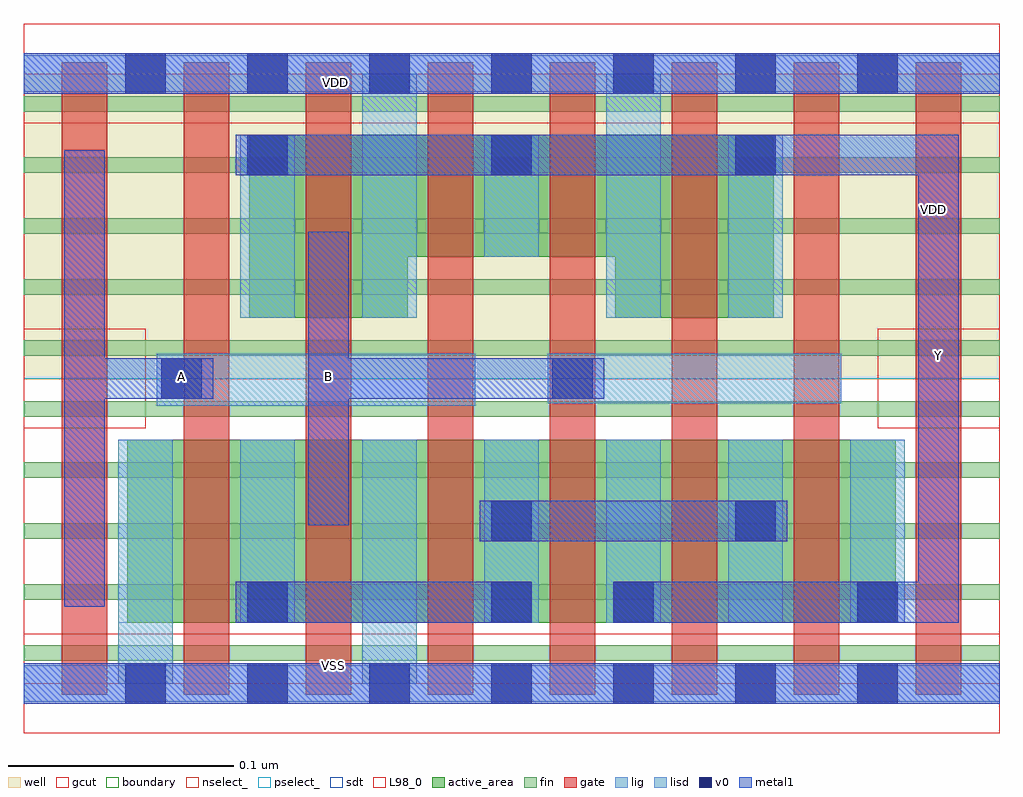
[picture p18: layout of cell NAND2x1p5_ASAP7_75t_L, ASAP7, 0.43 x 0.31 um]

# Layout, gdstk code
import gdstk
lib = gdstk.Library(unit=1e-6, precision=2.5e-10)
def R(c, l, rs):  # rectangles x0, y0, x1, y1
    for r in rs: c.add(gdstk.rectangle(r[:2], r[2:], *l))
def A(c, l, x, y, w, h, nx, ny, dx, dy):  # array of equal rectangles
    R(c, l, [(x+i*dx, y+j*dy, x+i*dx+w, y+j*dy+h) for i in range(nx) for j in range(ny)])
def P(c, l, *ps):  # polygons
    for p in ps: c.add(gdstk.Polygon(p, *l))
well = (1, 0)
fin = (2, 0)
gate = (7, 0)
gcut = (10, 0)
active_area = (11, 0)
nselect_ = (12, 0)
pselect_ = (13, 0)
lig = (16, 0)
lisd = (17, 0)
v0 = (18, 0)
metal1 = (19, 0)
sdt = (88, 0)
L98_0 = (98, 0)
boundary = (100, 0)

nand2x1p5_asap7_75t_l = lib.new_cell('NAND2x1p5_ASAP7_75t_L')
R(nand2x1p5_asap7_75t_l, well, [(0,0.135,0.432,0.27)])
A(nand2x1p5_asap7_75t_l, fin, 0, 0.01, 0.432, 0.007, 1, 10, 0, 0.027)
A(nand2x1p5_asap7_75t_l, gate, 0.017, -0.005, 0.02, 0.28, 8, 1, 0.054, 0)
R(nand2x1p5_asap7_75t_l, gcut, [(0,-0.022,0.432,0.022), (0,0.113,0.054,0.157), (0.378,0.113,0.432,0.157), (0,0.248,0.432,0.292)])
R(nand2x1p5_asap7_75t_l, active_area, [(0.046,0.027,0.386,0.108), (0.1,0.162,0.17,0.243), (0.262,0.162,0.332,0.243), (0.1,0.189,0.304,0.243)])
R(nand2x1p5_asap7_75t_l, nselect_, [(0,0,0.432,0.135)])
R(nand2x1p5_asap7_75t_l, pselect_, [(0,0.135,0.432,0.27)])
R(nand2x1p5_asap7_75t_l, lig, [(0,-0.008,0.432,0.008), (0.059,0.123,0.2,0.146), (0.232,0.124,0.362,0.146), (0,0.262,0.432,0.278)])
A(nand2x1p5_asap7_75t_l, lisd, 0.204, 0.027, 0.024, 0.081, 4, 1, 0.054, 0)
R(nand2x1p5_asap7_75t_l, lisd, [(0.042,0,0.066,0.108), (0.15,0,0.174,0.108), (0.096,0.027,0.12,0.108), (0.096,0.162,0.12,0.243), (0.15,0.162,0.174,0.27), (0.258,0.162,0.282,0.27), (0.312,0.162,0.336,0.243), (0.204,0.189,0.228,0.243)])
A(nand2x1p5_asap7_75t_l, v0, 0.045, -0.009, 0.018, 0.018, 7, 2, 0.054, 0.27)
A(nand2x1p5_asap7_75t_l, v0, 0.099, 0.225, 0.018, 0.018, 3, 1, 0.108, 0)
R(nand2x1p5_asap7_75t_l, v0, [(0.099,0.027,0.117,0.045), (0.207,0.027,0.225,0.045), (0.261,0.027,0.279,0.045), (0.369,0.027,0.387,0.045), (0.207,0.063,0.225,0.081), (0.315,0.063,0.333,0.081), (0.061,0.126,0.079,0.144), (0.234,0.126,0.252,0.144), (0.099,0.225,0.117,0.243)])
R(nand2x1p5_asap7_75t_l, metal1, [(0,-0.009,0.432,0.009), (0.094,0.027,0.225,0.045), (0.202,0.063,0.338,0.081), (0,0.261,0.432,0.279)])
P(nand2x1p5_asap7_75t_l, metal1, [(0.084,0.144),(0.036,0.144),(0.036,0.236),(0.018,0.236),(0.018,0.034),(0.036,0.034),(0.036,0.126),(0.084,0.126)],
  [(0.257,0.144),(0.144,0.144),(0.144,0.2),(0.126,0.2),(0.126,0.07),(0.144,0.07),(0.144,0.126),(0.257,0.126)],
  [(0.414,0.243),(0.094,0.243),(0.094,0.225),(0.396,0.225),(0.396,0.045),(0.261,0.045),(0.261,0.027),(0.414,0.027)])
A(nand2x1p5_asap7_75t_l, sdt, 0.042, 0.027, 0.024, 0.081, 7, 1, 0.054, 0)
R(nand2x1p5_asap7_75t_l, sdt, [(0.096,0.162,0.12,0.243), (0.15,0.162,0.174,0.243), (0.258,0.162,0.282,0.243), (0.312,0.162,0.336,0.243), (0.204,0.189,0.228,0.243)])
R(nand2x1p5_asap7_75t_l, L98_0, [(0,0,0.432,0.27)])
R(nand2x1p5_asap7_75t_l, boundary, [(0,0,0.432,0.27)])
nand2x1p5_asap7_75t_l.add(gdstk.Label('VSS', (0.137,0.008), layer=19, texttype=251))
nand2x1p5_asap7_75t_l.add(gdstk.Label('VDD', (0.138,0.266), layer=19, texttype=251))
nand2x1p5_asap7_75t_l.add(gdstk.Label('Y', (0.405,0.145), layer=19, texttype=251))
nand2x1p5_asap7_75t_l.add(gdstk.Label('B', (0.135,0.136), layer=19, texttype=251))
nand2x1p5_asap7_75t_l.add(gdstk.Label('A', (0.07,0.136), layer=19, texttype=251))
nand2x1p5_asap7_75t_l.add(gdstk.Label('VDD', (0.403,0.21), layer=1, texttype=251))
nand2x1p5_asap7_75t_l.add(gdstk.Label('VSS', (0.472,0.209), layer=3, texttype=251))

lib.write_gds('NAND2x1p5_ASAP7_75t_L.gds')
